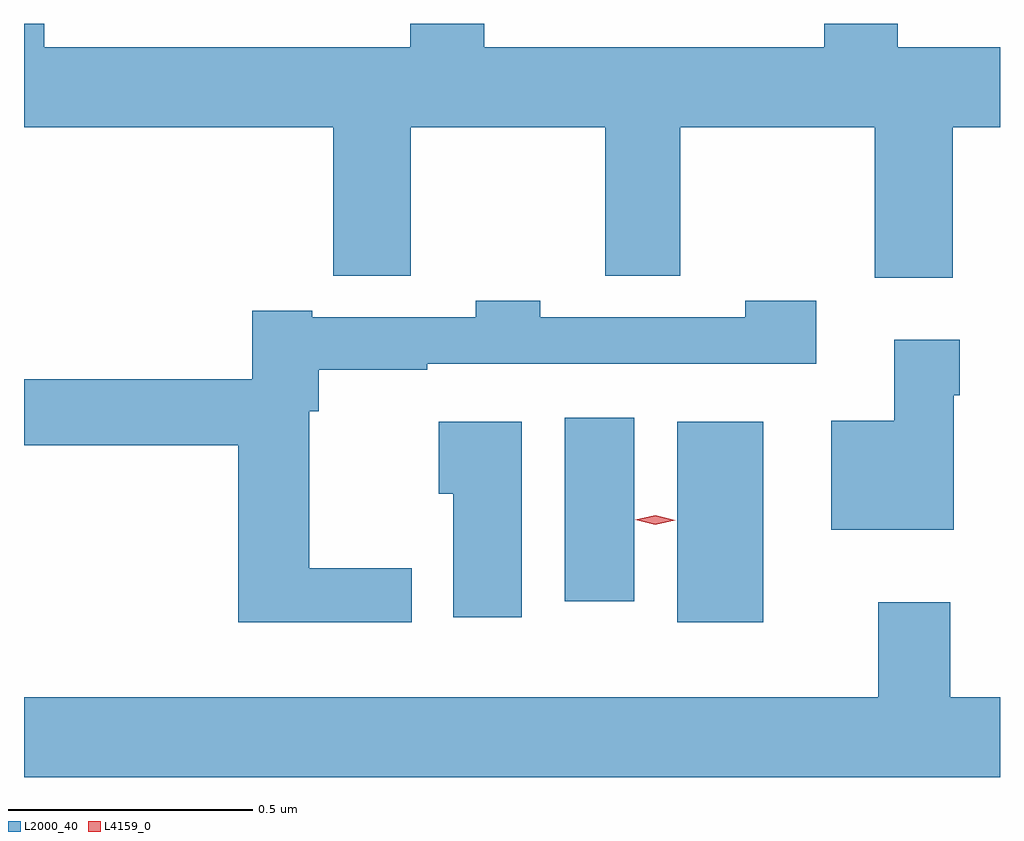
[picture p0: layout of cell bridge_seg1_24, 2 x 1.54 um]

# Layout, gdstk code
import gdstk
lib = gdstk.Library(unit=1e-6, precision=1e-09)
def R(c, l, rs):  # rectangles x0, y0, x1, y1
    for r in rs: c.add(gdstk.rectangle(r[:2], r[2:], *l))
def P(c, l, *ps):  # polygons
    for p in ps: c.add(gdstk.Polygon(p, *l))
L2000_40 = (2000, 40)
L4159_0 = (4159, 0)

bridge_seg1_24 = lib.new_cell('bridge_seg1_24')
R(bridge_seg1_24, L2000_40, [(1025.168,561.374,1025.344,561.784), (1024.937,561.417,1025.08,561.793)])
P(bridge_seg1_24, L2000_40, [(1025.732,562.388),(1025.829,562.388),(1025.829,562.552),(1025.619,562.552),(1025.619,562.6),(1025.469,562.6),(1025.469,562.552),(1024.772,562.552),(1024.772,562.6),(1024.62,562.6),(1024.62,562.552),(1023.87,562.552),(1023.87,562.6),(1023.829,562.6),(1023.829,562.388),(1024.463,562.388),(1024.463,562.084),(1024.622,562.084),(1024.622,562.388),(1025.02,562.388),(1025.02,562.084),(1025.174,562.084),(1025.174,562.388),(1025.572,562.388),(1025.572,562.08),(1025.732,562.08)],
  [(1024.624,561.484),(1024.414,561.484),(1024.414,561.806),(1024.433,561.806),(1024.433,561.891),(1024.655,561.891),(1024.655,561.903),(1025.452,561.903),(1025.452,562.032),(1025.307,562.032),(1025.307,561.999),(1024.887,561.999),(1024.887,562.032),(1024.755,562.032),(1024.755,561.999),(1024.42,561.999),(1024.42,562.012),(1024.297,562.012),(1024.297,561.872),(1023.829,561.872),(1023.829,561.736),(1024.268,561.736),(1024.268,561.374),(1024.624,561.374)],
  [(1025.734,561.839),(1025.747,561.839),(1025.747,561.952),(1025.612,561.952),(1025.612,561.787),(1025.483,561.787),(1025.483,561.563),(1025.734,561.563)],
  [(1024.849,561.784),(1024.679,561.784),(1024.679,561.637),(1024.709,561.637),(1024.709,561.384),(1024.849,561.384)],
  [(1025.829,561.22),(1025.727,561.22),(1025.727,561.415),(1025.579,561.415),(1025.579,561.22),(1023.829,561.22),(1023.829,561.056),(1025.829,561.056)])
P(bridge_seg1_24, L4159_0, [(1025.123,561.573),(1025.082,561.584),(1025.082,561.584),(1025.082,561.584),(1025.123,561.593),(1025.164,561.583),(1025.164,561.583),(1025.164,561.583)])

lib.write_gds('bridge_seg1_24.gds')
